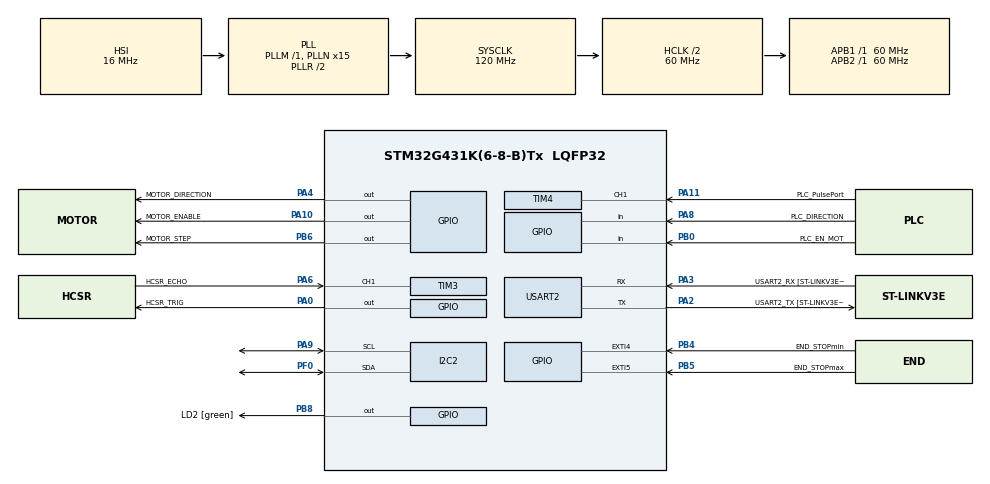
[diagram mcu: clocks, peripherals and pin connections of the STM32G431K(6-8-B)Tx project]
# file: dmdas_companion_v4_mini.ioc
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I2C2.Timing=0x107075B0
Mcu.Family=STM32G4
Mcu.Name=STM32G431K(6-8-B)Tx
Mcu.Package=LQFP32
NVIC.EXTI4_IRQn=true\:0\:0\:false\:false\:true\:true\:true
NVIC.EXTI9_5_IRQn=true\:0\:0\:false\:false\:true\:true\:true
NVIC.PriorityGroup=NVIC_PRIORITYGROUP_2
NVIC.TIM3_IRQn=true\:1\:0\:true\:false\:true\:true\:true
NVIC.TIM4_IRQn=true\:0\:0\:false\:false\:true\:true\:true
NVIC.USART2_IRQn=true\:1\:1\:true\:false\:true\:true\:true
PA0.GPIO_Label=HCSR_TRIG
PA0.Signal=GPIO_Output
PA10.GPIO_Label=MOTOR_ENABLE
PA10.Signal=GPIO_Output
PA11.GPIO_Label=PLC_PulsePort
PA11.Signal=S_TIM4_CH1
PA13.GPIO_Label=T_SWDIO
PA13.Mode=Serial_Wire
PA13.Signal=SYS_JTMS-SWDIO
PA14.GPIO_Label=T_SWCLK
PA14.Mode=Serial_Wire
PA14.Signal=SYS_JTCK-SWCLK
PA2.GPIO_Label=USART2_TX [ST-LINKV3E_VCP_RX]
PA2.Mode=Asynchronous
PA2.Signal=USART2_TX
PA3.GPIO_Label=USART2_RX [ST-LINKV3E_VCP_TX]
PA3.Mode=Asynchronous
PA3.Signal=USART2_RX
PA4.GPIO_Label=MOTOR_DIRECTION
PA4.Signal=GPIO_Output
PA6.GPIO_Label=HCSR_ECHO
PA6.Signal=S_TIM3_CH1
PA8.GPIO_Label=PLC_DIRECTION
PA8.GPIO_PuPd=GPIO_PULLUP
PA8.Signal=GPIO_Input
PA9.Mode=I2C
PA9.Signal=I2C2_SCL
PB0.GPIO_Label=PLC_EN_MOT
PB0.GPIO_PuPd=GPIO_PULLUP
PB0.Signal=GPIO_Input
PB3.GPIO_Label=T_SWO
PB3.Signal=SYS_JTDO-SWO
PB4.GPIO_Label=END_STOPmin
PB4.Signal=GPXTI4
PB5.GPIO_Label=END_STOPmax
PB5.Signal=GPXTI5
PB6.GPIO_Label=MOTOR_STEP
PB6.Signal=GPIO_Output
PB8-BOOT0.GPIO_Label=LD2 [green]
PB8-BOOT0.Signal=GPIO_Output
PF0-OSC_IN.Mode=I2C
PF0-OSC_IN.Signal=I2C2_SDA
ProjectManager.HeapSize=0x200
ProjectManager.StackSize=0x400
ProjectManager.TargetToolchain=STM32CubeIDE
RCC.ADC12Freq_Value=120000000
RCC.AHBCLKDivider=RCC_SYSCLK_DIV2
RCC.AHBFreq_Value=60000000
RCC.APB1Freq_Value=60000000
RCC.APB1TimFreq_Value=60000000
RCC.APB2Freq_Value=60000000
RCC.APB2TimFreq_Value=60000000
RCC.CortexFreq_Value=60000000
RCC.EXTERNAL_CLOCK_VALUE=12288000
RCC.HCLKFreq_Value=60000000
RCC.HSE_VALUE=8000000
RCC.HSI48_VALUE=48000000
RCC.HSI_VALUE=16000000
RCC.LSE_VALUE=32768
RCC.PLLN=15
RCC.SYSCLKFreq_VALUE=120000000
RCC.SYSCLKSource=RCC_SYSCLKSOURCE_PLLCLK
RCC.USBFreq_Value=120000000
RCC.VCOOutputFreq_Value=240000000
SH.S_TIM3_CH1.0=TIM3_CH1,Input_Capture1_from_TI1
SH.S_TIM4_CH1.0=TIM4_CH1,Input_Capture1_from_TI1
TIM3.Channel-Input_Capture1_from_TI1=TIM_CHANNEL_1
TIM3.Prescaler=59
TIM4.Channel-Input_Capture1_from_TI1=TIM_CHANNEL_1
TIM4.Prescaler=59999
USART2.VirtualMode-Asynchronous=VM_ASYNC
USART2.WordLength=WORDLENGTH_8B
VP_SYS_VS_DBSignals.Mode=DisableDeadBatterySignals
board=NUCLEO-G431KB

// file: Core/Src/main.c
/* USER CODE BEGIN Header */
/**
  ******************************************************************************
  * @file           : main.c
  * @brief          : Main program body
  ******************************************************************************
  * @attention
  *
  * <h2><center>&copy; Copyright (c) 2021 STMicroelectronics.
  * All rights reserved.</center></h2>
  *
  * This software component is licensed by ST under BSD 3-Clause license,
  * the "License"; You may not use this file except in compliance with the
  * License. You may obtain a copy of the License at:
  *                        opensource.org/licenses/BSD-3-Clause
  *
  ******************************************************************************
  */
/* USER CODE END Header */
#include "main.h"
#include "i2c.h"
#include "tim.h"
#include "usart.h"
#include "gpio.h"

/* USER CODE BEGIN Includes */
#include "si5351.h"
/* USER CODE END Includes */

/* USER CODE BEGIN PD */
#define DMILLIM_USTEP_CONSTANT 0.012528906
/* USER CODE END PD */

/* USER CODE BEGIN PV */
/*HCSR04 variables*/

uint8_t rised_hc=0;
uint16_t dist_time1=0;
uint32_t distance=0;

/*PLC COMMUNICATION Variables*/

uint8_t rised_plc=0;
uint8_t first_wave_rec=0;
uint16_t dur1=0;
uint16_t dur2=0;
uint16_t dur_time1=0;
uint16_t magic_number=0;

/* STEPPER MOTOR VARIABLES*/
uint8_t moving = 0;
int16_t open_loop_motor_position = 0;
uint8_t move_mot = 0;
uint8_t motor_moved = 0;
uint8_t direction = 0;

/* UART Variables*/

volatile uint8_t cmd_char = 0;

/* USER CODE END PV */

void SystemClock_Config(void);

/* USER CODE BEGIN 0 */
void delay_us(uint16_t time){
	__HAL_TIM_SET_COUNTER(&htim3,0);
	while(__HAL_TIM_GET_COUNTER(&htim3)<time);
}
void HAL_TIM_IC_CaptureCallback(TIM_HandleTypeDef *htim){
	/* HC_SR04 INTERRUPT*/
	if(htim->Instance == TIM3){
		uint16_t val = HAL_TIM_ReadCapturedValue(&htim3, TIM_CHANNEL_1);
		if(!rised_hc){
			dist_time1 = val;
			rised_hc = 1;
			__HAL_TIM_SET_CAPTUREPOLARITY(htim, TIM_CHANNEL_1, TIM_INPUTCHANNELPOLARITY_FALLING);
		}else{ //falling
			if(val >= dist_time1){
				distance = (uint32_t)((val - dist_time1)*100/58.0); // decimi di millimetro
			}else{
				distance = (uint32_t)(((0xffff-dist_time1)+val)*100/58.0);
			}
			rised_hc = 0;
			__HAL_TIM_SET_CAPTUREPOLARITY(htim, TIM_CHANNEL_1, TIM_INPUTCHANNELPOLARITY_RISING);
		}

	}
	/*CUSTOM PROTOCOL INTERRUPT*/
	if(htim->Instance == TIM4){

		uint16_t val = HAL_TIM_ReadCapturedValue(&htim4, TIM_CHANNEL_1);
		if(first_wave_rec==0){

			if(!rised_plc){

				dur_time1 = val;
				rised_plc = 1;
				__HAL_TIM_SET_CAPTUREPOLARITY(htim, TIM_CHANNEL_1, TIM_INPUTCHANNELPOLARITY_FALLING);
				}else{

					if(val>=dur_time1){
						dur1= val-dur_time1;
					}else{
						dur1= (0xffff-dur_time1)+val;
					}
					rised_plc=0;
					__HAL_TIM_SET_CAPTUREPOLARITY(htim, TIM_CHANNEL_1, TIM_INPUTCHANNELPOLARITY_RISING);
					first_wave_rec=1;
				}

			}else{

				if(!rised_plc){

					dur_time1 = val;
					rised_plc = 1;
					__HAL_TIM_SET_CAPTUREPOLARITY(htim, TIM_CHANNEL_1, TIM_INPUTCHANNELPOLARITY_FALLING);
					}else{

						if(val>=dur_time1){
							dur2= val-dur_time1;
						}else{
							dur2= (0xffff-dur_time1)+val;
						}
						rised_plc=0;
						__HAL_TIM_SET_CAPTUREPOLARITY(htim, TIM_CHANNEL_1, TIM_INPUTCHANNELPOLARITY_RISING);
						first_wave_rec=0;
						dur1 = (dur1/15)-15;
						dur2 = (dur2/15)-15;
						magic_number = (dur1<<5)|dur2;

					}

		}

	}

}

void HCSR04_trigger(){
	HAL_GPIO_WritePin(HCSR_TRIG_GPIO_Port, HCSR_TRIG_Pin, GPIO_PIN_SET);
	delay_us(10);
	HAL_GPIO_WritePin(HCSR_TRIG_GPIO_Port, HCSR_TRIG_Pin, GPIO_PIN_RESET);

}

void move_stepper(uint32_t steps){
	HAL_GPIO_WritePin(MOTOR_DIRECTION_GPIO_Port, MOTOR_DIRECTION_Pin,direction );
	HAL_GPIO_WritePin(MOTOR_ENABLE_GPIO_Port, MOTOR_ENABLE_Pin, 0);
	 for (int i = 0; i <steps ; i++)
	  {

		 HAL_GPIO_WritePin(MOTOR_STEP_GPIO_Port, MOTOR_STEP_Pin, 1);
		 delay_us(30);
		 HAL_GPIO_WritePin(MOTOR_STEP_GPIO_Port, MOTOR_STEP_Pin, 0);
		 delay_us(30);
	  }
	 HAL_GPIO_WritePin(MOTOR_ENABLE_GPIO_Port, MOTOR_ENABLE_Pin, 1);

}

void move_stepper_dec_mm(uint32_t dec_mm){
	moving = 1;
	if(direction){
		open_loop_motor_position += dec_mm;
	}else{

		open_loop_motor_position -= dec_mm;

	}
	move_stepper((uint32_t)(dec_mm/DMILLIM_USTEP_CONSTANT));
	moving = 0;
}
/* USER CODE END 0 */

int main(void)
{

  /* MCU Configuration--------------------------------------------------------*/

  /* Reset of all peripherals, Initializes the Flash interface and the Systick. */
  HAL_Init();

  /* Configure the system clock */
  SystemClock_Config();

  /* Initialize all configured peripherals */
  MX_GPIO_Init();
  MX_USART2_UART_Init();
  MX_TIM3_Init();
  MX_TIM4_Init();
  MX_I2C2_Init();
  /* USER CODE BEGIN 2 */
  HAL_TIM_IC_Start_IT(&htim3, TIM_CHANNEL_1);
  HAL_TIM_IC_Start_IT(&htim4, TIM_CHANNEL_1);

  HAL_UART_Receive_IT(&huart2, &cmd_char, 1);
  si5351_Init();
  si5351_setupPLLInt(SI5351_PLL_A, 32);
  si5351_setupMultisynth(0, SI5351_PLL_A, 4, 1000-4, 1);
  si5351_setupRdiv(0, SI5351_R_DIV_8);
  si5351_enableOutputs(0xFF);  HAL_TIM_IC_Start_IT(&htim3, TIM_CHANNEL_1);
  HAL_TIM_IC_Start_IT(&htim4, TIM_CHANNEL_1);

  HAL_UART_Receive_IT(&huart2, &cmd_char, 1);
  si5351_Init();
  si5351_setupPLLInt(SI5351_PLL_A, 32);
  si5351_setupMultisynth(0, SI5351_PLL_A, 4, 1000-4, 1);
  si5351_setupRdiv(0, SI5351_R_DIV_8);
  si5351_enableOutputs(0xFF);
  /* USER CODE END 2 */

  /* Infinite loop */
  /* USER CODE BEGIN WHILE */
  while (1)
  {
	  HAL_Delay(100);
	  HCSR04_trigger();
	  move_mot = !HAL_GPIO_ReadPin(PLC_EN_MOT_GPIO_Port, PLC_EN_MOT_Pin);
	  direction = HAL_GPIO_ReadPin(PLC_DIRECTION_GPIO_Port, PLC_DIRECTION_Pin);
	  if(move_mot&&(!motor_moved)){

		  move_stepper_dec_mm(magic_number);
		  motor_moved = 1;
	  }

    /* USER CODE END WHILE */

  }
}

void SystemClock_Config(void)
{
  RCC_OscInitTypeDef RCC_OscInitStruct = {0};
  RCC_ClkInitTypeDef RCC_ClkInitStruct = {0};
  RCC_PeriphCLKInitTypeDef PeriphClkInit = {0};

  /** Configure the main internal regulator output voltage
  */
  HAL_PWREx_ControlVoltageScaling(PWR_REGULATOR_VOLTAGE_SCALE1);
  /** Initializes the RCC Oscillators according to the specified parameters
  * in the RCC_OscInitTypeDef structure.
  */
  RCC_OscInitStruct.OscillatorType = RCC_OSCILLATORTYPE_HSI;
  RCC_OscInitStruct.HSIState = RCC_HSI_ON;
  RCC_OscInitStruct.HSICalibrationValue = RCC_HSICALIBRATION_DEFAULT;
  RCC_OscInitStruct.PLL.PLLState = RCC_PLL_ON;
  RCC_OscInitStruct.PLL.PLLSource = RCC_PLLSOURCE_HSI;
  RCC_OscInitStruct.PLL.PLLM = RCC_PLLM_DIV1;
  RCC_OscInitStruct.PLL.PLLN = 15;
  RCC_OscInitStruct.PLL.PLLP = RCC_PLLP_DIV2;
  RCC_OscInitStruct.PLL.PLLQ = RCC_PLLQ_DIV2;
  RCC_OscInitStruct.PLL.PLLR = RCC_PLLR_DIV2;
  if (HAL_RCC_OscConfig(&RCC_OscInitStruct) != HAL_OK)
  {
    Error_Handler();
  }
  /** Initializes the CPU, AHB and APB buses clocks
  */
  RCC_ClkInitStruct.ClockType = RCC_CLOCKTYPE_HCLK|RCC_CLOCKTYPE_SYSCLK
                              |RCC_CLOCKTYPE_PCLK1|RCC_CLOCKTYPE_PCLK2;
  RCC_ClkInitStruct.SYSCLKSource = RCC_SYSCLKSOURCE_PLLCLK;
  RCC_ClkInitStruct.AHBCLKDivider = RCC_SYSCLK_DIV2;
  RCC_ClkInitStruct.APB1CLKDivider = RCC_HCLK_DIV1;
  RCC_ClkInitStruct.APB2CLKDivider = RCC_HCLK_DIV1;

  if (HAL_RCC_ClockConfig(&RCC_ClkInitStruct, FLASH_LATENCY_1) != HAL_OK)
  {
    Error_Handler();
  }
  /** Initializes the peripherals clocks
  */
  PeriphClkInit.PeriphClockSelection = RCC_PERIPHCLK_USART2|RCC_PERIPHCLK_I2C2;
  PeriphClkInit.Usart2ClockSelection = RCC_USART2CLKSOURCE_PCLK1;
  PeriphClkInit.I2c2ClockSelection = RCC_I2C2CLKSOURCE_PCLK1;
  if (HAL_RCCEx_PeriphCLKConfig(&PeriphClkInit) != HAL_OK)
  {
    Error_Handler();
  }
}

/* USER CODE BEGIN 4 */
void HAL_UART_RxCpltCallback(UART_HandleTypeDef *huart)
{
	if(cmd_char=='a'){

		char buffer[32] = "";
		int dim = sprintf(buffer,"%d\n",distance);
		HAL_UART_Transmit_IT(&huart2, buffer,dim);
		//HAL_TIM_Base_Stop_IT(&htim11);

	}else if(cmd_char=='b'){
		char buffer[32] = "";
		int dim = sprintf(buffer,"%d\n",open_loop_motor_position);
		HAL_UART_Transmit_IT(&huart2, buffer,dim);

	}else if(cmd_char =='c'){
		char buffer[32] = "";
		int dim = sprintf(buffer,"%d\n",moving);
		HAL_UART_Transmit_IT(&huart2, buffer,dim);

	}else if(cmd_char=='d'){
		char buffer[32] = "";
		int dim = sprintf(buffer,"%d\n",magic_number);
		HAL_UART_Transmit_IT(&huart2, buffer,dim);
		motor_moved = 0;

	}else{

		HAL_UART_Transmit_IT(&huart2, "unknown char\n",16);

	}

	HAL_UART_Receive_IT(&huart2, &cmd_char, 1);
}

void HAL_TIM_PeriodElapsedCallback(TIM_HandleTypeDef *htim)
{

}

void HAL_GPIO_EXTI_Callback(uint16_t GPIO_Pin){
	if(GPIO_Pin==END_STOPmin_Pin){

		HAL_GPIO_TogglePin(LD2_GPIO_Port, LD2_Pin);

	}else if(GPIO_Pin == END_STOPmax_Pin){
		HAL_GPIO_TogglePin(LD2_GPIO_Port, LD2_Pin);
	}

}
/* USER CODE END 4 */

void Error_Handler(void)
{
  __disable_irq();
  while (1)
  {
  }
}

/************************ (C) COPYRIGHT STMicroelectronics *****END OF FILE****/
